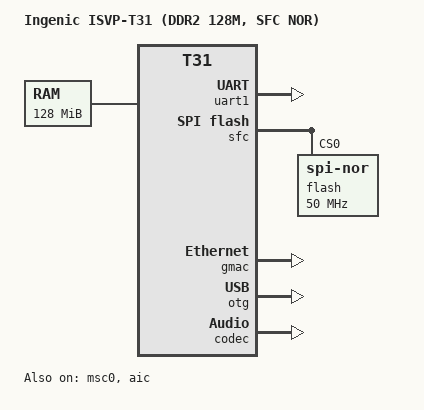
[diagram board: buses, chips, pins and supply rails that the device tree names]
// SPDX-License-Identifier: GPL-2.0+

/dts-v1/;

#include <dt-bindings/gpio/gpio.h>
#include "t31.dtsi"

/ {
	compatible = "ingenic,isvp-t31", "ingenic,t31";
	model = "Ingenic ISVP-T31 (DDR2 128M, SFC NOR)";

	aliases {
		serial1 = &uart1;
	};

	chosen {
		stdout-path = "serial1:115200n8";
	};

	memory {
		device_type = "memory";
		reg = <0x0 0x08000000>;	/* 128 MB DDR2 */
	};
};

&uart1 {
	status = "okay";
};

&sfc {
	status = "okay";

	flash@0 {
		compatible = "jedec,spi-nor";
		reg = <0>;
		spi-max-frequency = <50000000>;
	};
};

&msc0 {
	status = "okay";
	bus-width = <4>;
	broken-cd;	/* no card-detect line wired on the ISVP board */
};

&gmac {
	status = "okay";
	/* IP101G PHY reset (ISVP reference default = GPIO PB28). The
	 * exact pin varies per board; override per device as needed. */
	ingenic,reset-gpio = <&gpb 28 GPIO_ACTIVE_LOW>;
};

&otg {
	status = "okay";
};

&aic {
	status = "okay";
};

&codec {
	status = "okay";
	/* Speaker-amp enable: SDK default PB31, active-high. Override
	 * here per board if the amp is on a different pin/polarity. */
	ingenic,spk-gpio = <&gpb 31 GPIO_ACTIVE_HIGH>;
};

&sound {
	status = "okay";
};
